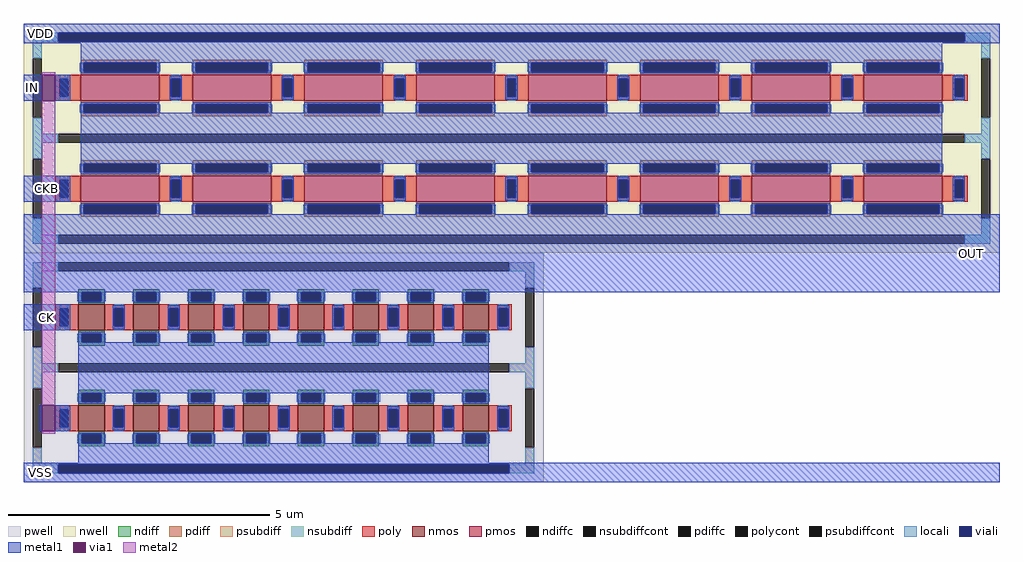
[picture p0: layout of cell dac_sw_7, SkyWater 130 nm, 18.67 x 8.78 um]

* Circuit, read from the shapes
.subckt dac_sw_7 VDD IN CKB CK VSS OUT
XM1 n1 IN VSS VSS sky130_fd_pr__nfet_01v8 w=0.5 l=0.5 m=8
XM2 OUT CK n1 VSS sky130_fd_pr__nfet_01v8 w=0.5 l=0.5 m=8
XM3 n2 CKB OUT VDD sky130_fd_pr__pfet_01v8 w=1.5 l=0.5 m=8
XM4 VDD IN n2 VDD sky130_fd_pr__pfet_01v8 w=1.5 l=0.5 m=8
.ends

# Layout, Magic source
magic
tech sky130A
magscale 1 2
<< viali >>
rect 238 1527 3708 1561
rect 238 -123 1964 -89
<< metal1 >>
rect 106 1561 3840 1597
rect 106 1527 238 1561
rect 3708 1527 3840 1561
rect 106 1521 3840 1527
rect 325 1447 3621 1521
rect 106 1301 176 1401
rect 228 1301 284 1401
rect 325 1061 3621 1255
rect 106 915 284 1015
rect 106 569 3840 868
rect 106 423 284 523
rect 316 183 1886 377
rect 166 37 176 137
rect 228 37 280 137
rect 316 -83 1886 -9
rect 106 -89 3840 -83
rect 106 -123 238 -89
rect 1964 -123 3840 -89
rect 106 -159 3840 -123
<< via1 >>
rect 176 1301 228 1401
rect 176 37 228 137
<< metal2 >>
rect 176 1401 228 1411
rect 176 137 228 1301
rect 176 27 228 37
use sky130_fd_pr__nfet_01v8_X73VMN  sky130_fd_pr__nfet_01v8_X73VMN_0
transform 0 1 1101 -1 0 87
box -246 -995 246 995
use sky130_fd_pr__pfet_01v8_NMYLRJ  sky130_fd_pr__pfet_01v8_NMYLRJ_0
transform 0 1 1973 -1 0 965
box -246 -1867 246 1867
use sky130_fd_pr__pfet_01v8_NMYLRJ  XM1
transform 0 1 1973 -1 0 1351
box -246 -1867 246 1867
use sky130_fd_pr__nfet_01v8_X73VMN  XM3
transform 0 1 1101 -1 0 473
box -246 -995 246 995
<< labels >>
flabel metal1 106 1521 238 1597 0 FreeSans 400 0 0 0 VDD
port 0 nsew
flabel metal1 106 1301 176 1401 0 FreeSans 400 0 0 0 IN
port 1 nsew
flabel metal1 106 915 284 1015 0 FreeSans 400 0 0 0 CKB
port 2 nsew
flabel metal1 106 423 284 523 0 FreeSans 400 0 0 0 CK
port 3 nsew
flabel metal1 106 -159 238 -83 0 FreeSans 400 0 0 0 VSS
port 4 nsew
flabel metal1 3667 678 3799 754 0 FreeSans 400 0 0 0 OUT
port 6 nsew
<< end >>

# cell sky130_fd_pr__nfet_01v8_X73VMN: kit device sky130_fd_pr__nfet_01v8, w 0.5 l 0.5 m 8 nf 1 diffcov 100 polycov 100 guard 1 glc 1 grc 1 gtc 1 gbc 1 tbcov 100 rlcov 100 topc 1 botc 1 poverlap 1 doverlap 0 lmin 0.15 wmin 0.42 compatible {sky130_fd_pr__nfet_01v8 sky130_fd_pr__nfet_01v8_lvt sky130_fd_bs_flash__special_sonosfet_star sky130_fd_pr__nfet_g5v0d10v5 sky130_fd_pr__nfet_05v0_nvt sky130_fd_pr__nfet_03v3_nvt} full_metal 1 viasrc 100 viadrn 100 viagate 100 viagb 0 viagr 0 viagl 0 viagt 0

# cell sky130_fd_pr__pfet_01v8_NMYLRJ: kit device sky130_fd_pr__pfet_01v8, w 1.5 l 0.5 m 8 nf 1 diffcov 100 polycov 100 guard 1 glc 1 grc 1 gtc 1 gbc 1 tbcov 100 rlcov 100 topc 1 botc 1 poverlap 1 doverlap 0 lmin 0.15 wmin 0.42 compatible {sky130_fd_pr__pfet_01v8 sky130_fd_pr__pfet_01v8_lvt sky130_fd_pr__pfet_01v8_hvt sky130_fd_pr__pfet_g5v0d10v5} full_metal 1 viasrc 100 viadrn 100 viagate 100 viagb 0 viagr 0 viagl 0 viagt 0
